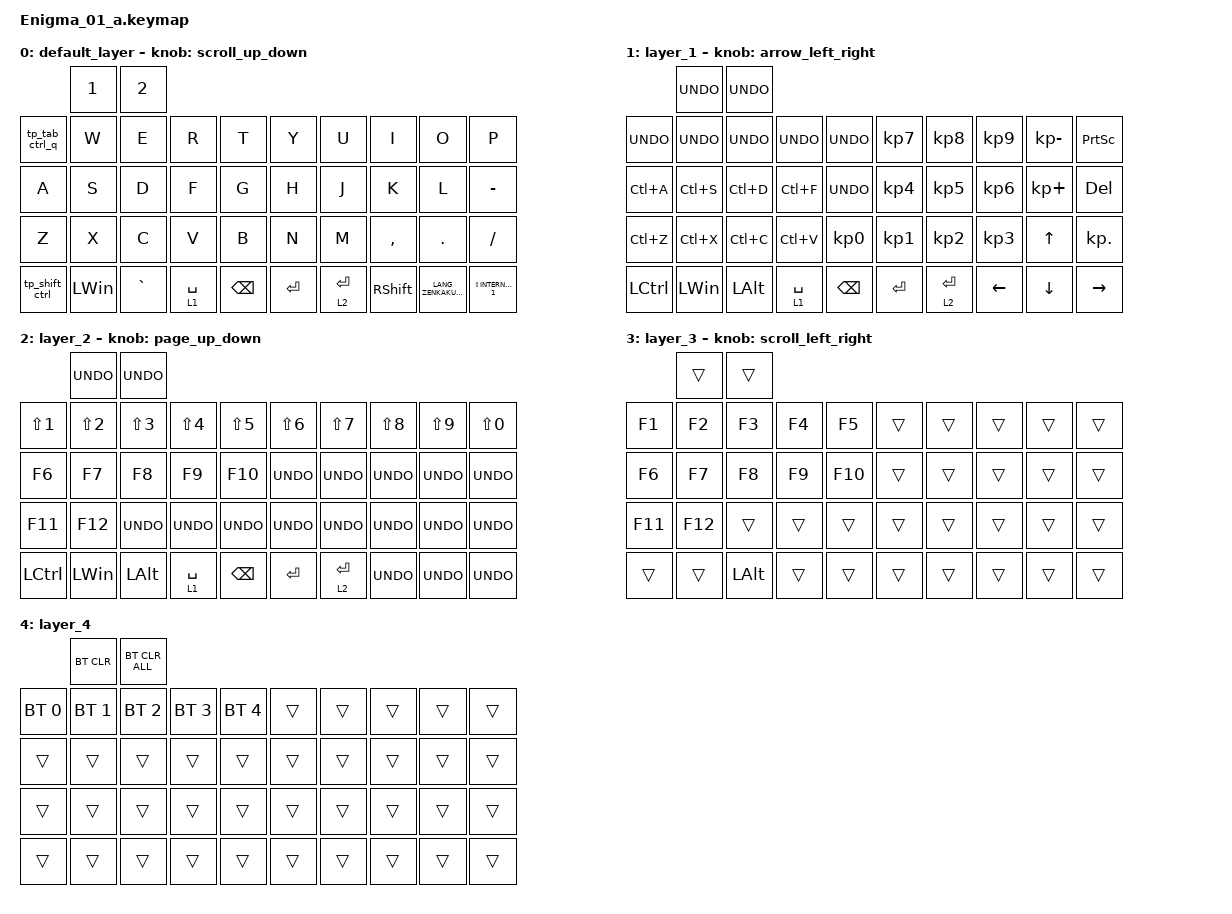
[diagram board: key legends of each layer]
#include <behaviors.dtsi>
#include <dt-bindings/zmk/bt.h>
#include <dt-bindings/zmk/keys.h>
#include <dt-bindings/zmk/pointing.h>

// #include <layout_shift_kp_override.dtsi>
// #define ZMK_POINTING_DEFAULT_SCRL_VAL 100

/ {
    behaviors {
        // Keep the original key_press behavior for ZMK core components
        original_key_press: original_key_press {
            compatible = "zmk,behavior-key-press";
            #binding-cells = <1>;
            label = "KEY_PRESS";
        };

        // Override the existing &kp behavior to use our custom implementation
        kp: key_press {
            compatible = "zmk,behavior-layout-shift-key-press";
            #binding-cells = <1>;
            label = "LAYOUT_SHIFT_KEY_PRESS";
        };

        scroll_up_down: behavior_sensor_rotate_mouse_wheel_up_down {
            compatible = "zmk,behavior-sensor-rotate";
            #sensor-binding-cells = <0>;
            bindings = <&msc SCRL_UP>, <&msc SCRL_DOWN>;

            tap-ms = <20>;
        };

        scroll_left_right: behavior_sensor_rotate_mouse_wheel_left_right {
            compatible = "zmk,behavior-sensor-rotate";
            #sensor-binding-cells = <0>;
            bindings = <&msc SCRL_LEFT>, <&msc SCRL_RIGHT>;

            tap-ms = <20>;
        };

        arrow_left_right: behavior_sensor_rotate_arrow_le {
            compatible = "zmk,behavior-sensor-rotate";
            #sensor-binding-cells = <0>;
            bindings = <&kp LEFT>, <&kp RIGHT>;

            tap-ms = <20>;
        };

        arrow_up_down: behavior_sensor_rotate_arrow_up {
            compatible = "zmk,behavior-sensor-rotate";
            #sensor-binding-cells = <0>;
            bindings = <&kp UP>, <&kp DOWN>;

            tap-ms = <20>;
        };

        page_up_down: behavior_sensor_rotate_page_up_ {
            compatible = "zmk,behavior-sensor-rotate";
            #sensor-binding-cells = <0>;
            bindings = <&kp PAGE_UP>, <&kp PAGE_DOWN>;

            tap-ms = <20>;
        };

        tp_tab_ctrl_q: tp_tab_ctrl_q {
            compatible = "zmk,behavior-tap-dance";
            label = "TP_TAB_CTRL_Q";
            #binding-cells = <0>;
            bindings = <&mt LCTRL TAB>, <&kp Q>;
        };

        tp_shift_ctrl: tp_shift_ctrl {
            compatible = "zmk,behavior-tap-dance";
            label = "TP_SHIFT_CTRL";
            #binding-cells = <0>;
            bindings = <&kp LSHIFT>, <&kp LCTRL>;
        };
    };

    combos {
        compatible = "zmk,combos";

        mo_layer4 {
            bindings = <&mo 4>;
            key-positions = <35 38>;
        };
    };

    keymap {
        compatible = "zmk,keymap";

        default_layer {
            bindings = <
                &kp N1        &kp N2
&tp_tab_ctrl_q  &kp W         &kp E      &kp R        &kp T          &kp Y      &kp U        &kp I            &kp O                    &kp P
&kp A           &kp S         &kp D      &kp F        &kp G          &kp H      &kp J        &kp K            &kp L                    &kp MINUS
&kp Z           &kp X         &kp C      &kp V        &kp B          &kp N      &kp M        &kp COMMA        &kp DOT                  &kp SLASH
&tp_shift_ctrl  &kp LEFT_WIN  &kp GRAVE  &lt 1 SPACE  &kp BACKSPACE  &kp ENTER  &lt 2 ENTER  &kp RIGHT_SHIFT  &kp LANG_ZENKAKUHANKAKU  &kp LS(INTERNATIONAL_1)
            >;

            sensor-bindings = <&scroll_up_down>;
        };

        layer_1 {
            bindings = <
            &kp K_UNDO    &kp K_UNDO
&kp K_UNDO  &kp K_UNDO    &kp K_UNDO    &kp K_UNDO   &kp K_UNDO       &kp KP_NUMBER_7  &kp KP_NUMBER_8  &kp KP_NUMBER_9  &kp KP_MINUS    &kp PRINTSCREEN
&kp LC(A)   &kp LC(S)     &kp LC(D)     &kp LC(F)    &kp K_UNDO       &kp KP_NUMBER_4  &kp KP_NUMBER_5  &kp KP_NUMBER_6  &kp KP_PLUS     &kp DELETE
&kp LC(Z)   &kp LC(X)     &kp LC(C)     &kp LC(V)    &kp KP_NUMBER_0  &kp KP_NUMBER_1  &kp KP_NUMBER_2  &kp KP_NUMBER_3  &kp UP_ARROW    &kp KP_DOT
&kp LCTRL   &kp LEFT_WIN  &kp LEFT_ALT  &lt 1 SPACE  &kp BACKSPACE    &kp ENTER        &lt 2 ENTER      &kp LEFT         &kp DOWN_ARROW  &kp RIGHT_ARROW
            >;

            sensor-bindings = <&arrow_left_right>;
        };

        layer_2 {
            bindings = <
                  &kp K_UNDO        &kp K_UNDO
&kp LS(NUMBER_1)  &kp LS(NUMBER_2)  &kp LS(NUMBER_3)  &kp LS(NUMBER_4)  &kp LS(NUMBER_5)  &kp LS(NUMBER_6)  &kp LS(NUMBER_7)  &kp LS(NUMBER_8)  &kp LS(NUMBER_9)  &kp LS(NUMBER_0)
&kp F6            &kp F7            &kp F8            &kp F9            &kp F10           &kp K_UNDO        &kp K_UNDO        &kp K_UNDO        &kp K_UNDO        &kp K_UNDO
&kp F11           &kp F12           &kp K_UNDO        &kp K_UNDO        &kp K_UNDO        &kp K_UNDO        &kp K_UNDO        &kp K_UNDO        &kp K_UNDO        &kp K_UNDO
&kp LCTRL         &kp LEFT_WIN      &kp LEFT_ALT      &lt 1 SPACE       &kp BACKSPACE     &kp ENTER         &lt 2 ENTER       &kp K_UNDO        &kp K_UNDO        &kp K_UNDO
            >;

            sensor-bindings = <&page_up_down>;
        };

        layer_3 {
            bindings = <
         &trans   &trans
&kp F1   &kp F2   &kp F3        &kp F4  &kp F5   &trans  &trans  &trans  &trans  &trans
&kp F6   &kp F7   &kp F8        &kp F9  &kp F10  &trans  &trans  &trans  &trans  &trans
&kp F11  &kp F12  &trans        &trans  &trans   &trans  &trans  &trans  &trans  &trans
&trans   &trans   &kp LEFT_ALT  &trans  &trans   &trans  &trans  &trans  &trans  &trans
            >;

            sensor-bindings = <&scroll_left_right>;
        };

        layer_4 {
            bindings = <
              &bt BT_CLR    &bt BT_CLR_ALL
&bt BT_SEL 0  &bt BT_SEL 1  &bt BT_SEL 2    &bt BT_SEL 3  &bt BT_SEL 4  &trans  &trans  &trans  &trans  &trans
&trans        &trans        &trans          &trans        &trans        &trans  &trans  &trans  &trans  &trans
&trans        &trans        &trans          &trans        &trans        &trans  &trans  &trans  &trans  &trans
&trans        &trans        &trans          &trans        &trans        &trans  &trans  &trans  &trans  &trans
            >;
        };
    };
};
